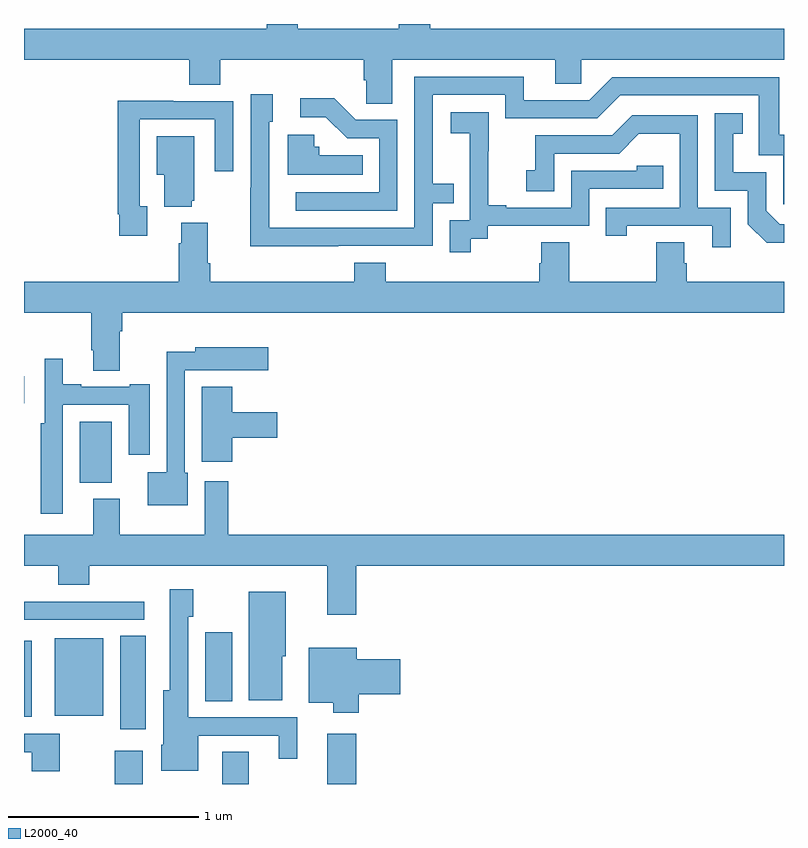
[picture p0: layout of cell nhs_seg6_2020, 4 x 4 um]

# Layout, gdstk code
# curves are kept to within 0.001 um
import gdstk
lib = gdstk.Library(unit=1e-6, precision=1e-09)
def R(c, l, rs):  # rectangles x0, y0, x1, y1
    for r in rs: c.add(gdstk.rectangle(r[:2], r[2:], *l))
def P(c, l, *ps):  # polygons
    for p in ps: c.add(gdstk.Polygon(p, *l))
L2000_40 = (2000, 40)

nhs_seg6_2020 = lib.new_cell('nhs_seg6_2020')
R(nhs_seg6_2020, L2000_40, [(231.478,967.5,231.625,967.675), (232.043,967.5,232.183,967.67), (232.595,967.5,232.748,967.765), (231.506,967.788,231.64,968.279), (231,967.853,231.04,968.254), (231.161,967.859,231.418,968.266), (231.953,967.936,232.096,968.299), (231,968.364,231.634,968.46), (231.293,969.086,231.463,969.406), (231,969.503,231.001,969.645)])
P(nhs_seg6_2020, L2000_40, [(232.939,971.312),(233.795,971.312),(233.795,971.185),(233.934,971.185),(233.934,971.312),(235,971.312),(235,971.476),(233.138,971.476),(233.138,971.5),(232.973,971.5),(232.973,971.476),(232.442,971.476),(232.442,971.5),(232.277,971.5),(232.277,971.476),(231,971.476),(231,971.312),(231.869,971.312),(231.869,971.179),(232.034,971.179),(232.034,971.312),(232.787,971.312),(232.787,971.203),(232.8,971.203),(232.8,971.08),(232.939,971.08)],
  [(232.655,970.332),(233.151,970.332),(233.151,970.557),(233.261,970.557),(233.261,970.658),(233.151,970.658),(233.151,971.127),(233.532,971.127),(233.532,971.004),(234.018,971.004),(234.138,971.124),(234.867,971.124),(234.867,970.809),(234.996,970.809),(234.996,970.551),(235,970.551),(235,970.918),(234.976,970.918),(234.976,971.22),(234.096,971.22),(233.976,971.1),(233.629,971.1),(233.629,971.223),(233.055,971.223),(233.055,970.428),(232.291,970.428),(232.29,970.986),(232.309,970.986),(232.309,971.131),(232.194,971.131),(232.194,970.637),(232.192,970.637),(232.192,970.331)],
  [(232.965,970.995),(232.746,970.995),(232.633,971.108),(232.455,971.108),(232.455,971.01),(232.589,971.01),(232.7,970.899),(232.869,970.899),(232.869,970.614),(232.431,970.614),(232.431,970.518),(232.965,970.518)],
  [(231.649,970.542),(231.609,970.542),(231.609,970.998),(232.005,970.998),(232.005,970.725),(232.101,970.725),(232.101,971.094),(231.785,971.094),(231.785,971.096),(231.493,971.096),(231.493,970.498),(231.501,970.498),(231.501,970.386),(231.649,970.386)],
  [(233.35,970.369),(233.442,970.369),(233.442,970.437),(233.976,970.437),(233.976,970.632),(234.365,970.632),(234.365,970.755),(234.225,970.755),(234.225,970.728),(233.88,970.728),(233.88,970.533),(233.539,970.533),(233.539,970.546),(233.444,970.546),(233.444,970.829),(233.445,970.829),(233.445,971.035),(233.247,971.035),(233.247,970.925),(233.345,970.925),(233.345,970.697),(233.346,970.697),(233.346,970.467),(233.241,970.467),(233.241,970.299),(233.35,970.299)],
  [(235,970.446),(234.978,970.446),(234.906,970.518),(234.906,970.719),(234.733,970.719),(234.733,970.923),(234.782,970.923),(234.782,971.029),(234.636,971.029),(234.636,970.623),(234.81,970.623),(234.81,970.446),(234.908,970.349),(235,970.349)],
  [(234.72,970.533),(234.546,970.533),(234.546,971.019),(234.2,971.019),(234.095,970.914),(233.692,970.914),(233.692,970.729),(233.643,970.729),(233.643,970.62),(233.79,970.62),(233.79,970.818),(234.132,970.818),(234.236,970.922),(234.45,970.922),(234.45,970.533),(234.061,970.533),(234.061,970.386),(234.172,970.386),(234.172,970.437),(234.623,970.437),(234.623,970.326),(234.72,970.326)],
  [(232.784,970.81),(232.554,970.81),(232.554,970.854),(232.527,970.854),(232.527,970.918),(232.388,970.918),(232.388,970.706),(232.784,970.706)],
  [(231.884,970.569),(231.895,970.569),(231.895,970.909),(231.698,970.909),(231.698,970.706),(231.737,970.706),(231.737,970.538),(231.884,970.538)],
  [(231.505,969.884),(231.518,969.884),(231.518,969.98),(235,969.98),(235,970.144),(234.488,970.144),(234.488,970.242),(234.475,970.242),(234.475,970.352),(234.328,970.352),(234.328,970.144),(233.871,970.144),(233.871,970.352),(233.723,970.352),(233.723,970.242),(233.711,970.242),(233.711,970.144),(232.904,970.144),(232.904,970.243),(232.739,970.243),(232.739,970.144),(231.98,970.144),(231.98,970.24),(231.967,970.24),(231.967,970.453),(231.827,970.453),(231.827,970.346),(231.815,970.346),(231.815,970.144),(231,970.144),(231,969.98),(231.353,969.98),(231.353,969.784),(231.365,969.784),(231.365,969.676),(231.505,969.676)],
  [(231.862,969.138),(231.846,969.138),(231.846,969.678),(232.058,969.678),(232.058,969.677),(232.285,969.677),(232.285,969.799),(231.9,969.799),(231.9,969.776),(231.75,969.776),(231.75,969.142),(231.65,969.142),(231.65,968.966),(231.862,968.966)],
  [(231.204,969.495),(231.551,969.495),(231.551,969.234),(231.661,969.234),(231.661,969.604),(231.557,969.604),(231.557,969.591),(231.301,969.591),(231.301,969.604),(231.205,969.604),(231.205,969.739),(231.108,969.739),(231.108,969.398),(231.088,969.398),(231.088,968.922),(231.204,968.922)],
  [(232.097,969.323),(232.333,969.323),(232.333,969.457),(232.097,969.457),(232.097,969.592),(231.935,969.592),(231.935,969.195),(232.097,969.195)],
  [(232.748,968.648),(235,968.648),(235,968.812),(232.076,968.812),(232.076,969.094),(231.95,969.094),(231.95,968.812),(231.505,968.812),(231.505,969.001),(231.365,969.001),(231.365,968.812),(231,968.812),(231,968.648),(231.179,968.648),(231.179,968.549),(231.344,968.549),(231.344,968.648),(232.595,968.648),(232.595,968.391),(232.748,968.391)],
  [(231.916,967.755),(232.34,967.755),(232.34,967.632),(232.438,967.632),(232.438,967.851),(231.864,967.851),(231.864,968.379),(231.891,968.379),(231.891,968.524),(231.768,968.524),(231.768,967.993),(231.734,967.993),(231.734,967.707),(231.722,967.707),(231.722,967.571),(231.916,967.571)],
  [(232.36,968.172),(232.378,968.172),(232.378,968.512),(232.184,968.512),(232.184,967.94),(232.36,967.94)],
  [(232.763,967.973),(232.981,967.973),(232.981,968.156),(232.75,968.156),(232.75,968.218),(232.499,968.218),(232.499,967.928),(232.628,967.928),(232.628,967.874),(232.763,967.874)],
  [(231.189,967.764),(231,967.764),(231,967.668),(231.041,967.668),(231.041,967.566),(231.189,967.566)])

lib.write_gds('nhs_seg6_2020.gds')
